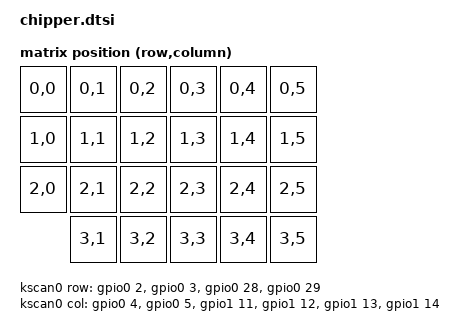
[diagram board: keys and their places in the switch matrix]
#include <dt-bindings/zmk/matrix_transform.h>

/ {
	chosen {
		zmk,kscan = &kscan0;
		zmk,matrix_transform = &default_transform;
	};

	default_transform: keymap_transform_0 {
		compatible = "zmk,matrix-transform";
		columns = <6>;
		rows = <4>;
		map = <
		RC(0,0) RC(0,1) RC(0,2) RC(0,3) RC(0,4) RC(0,5)
		RC(1,0) RC(1,1) RC(1,2) RC(1,3) RC(1,4) RC(1,5)
		RC(2,0) RC(2,1) RC(2,2) RC(2,3) RC(2,4) RC(2,5)
		         RC(3,1) RC(3,2) RC(3,3) RC(3,4) RC(3,5)
		>;
	};

	kscan0: kscan {
		compatible = "zmk,gpio-matrix";
		label = "KSCAN";
		diode-direction = "col2row";

		// ======================
		// 行 ROW → 你焊的 D0~D3
		// ======================
		row-gpios
			= <&gpio0  2 GPIO_ACTIVE_HIGH>  // ROW0 → D0
			, <&gpio0  3 GPIO_ACTIVE_HIGH>  // ROW1 → D1
			, <&gpio0 28 GPIO_ACTIVE_HIGH>  // ROW2 → D2
			, <&gpio0 29 GPIO_ACTIVE_HIGH>  // ROW3 → D3
			;

		// ======================
		// 列 COL → 你焊的 D4~D9
		// ======================
		col-gpios
			= <&gpio0  4 GPIO_ACTIVE_HIGH>  // COL0 → D4
			, <&gpio0  5 GPIO_ACTIVE_HIGH>  // COL1 → D5
			, <&gpio1 11 GPIO_ACTIVE_HIGH>  // COL2 → D6
			, <&gpio1 12 GPIO_ACTIVE_HIGH>  // COL3 → D7
			, <&gpio1 13 GPIO_ACTIVE_HIGH>  // COL4 → D8
			, <&gpio1 14 GPIO_ACTIVE_HIGH>  // COL5 → D9
			;
	};
};
